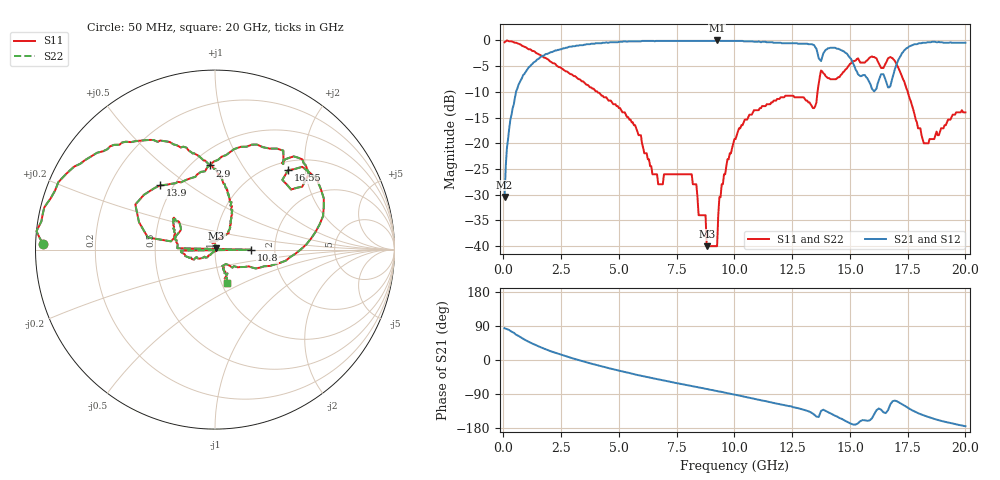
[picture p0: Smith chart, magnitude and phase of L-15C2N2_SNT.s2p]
#	mhz	s	ma	r	50
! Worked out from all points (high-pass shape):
!   400 points, 50 MHz to 20 GHz, reference 50 ohm
!   highest |S21| = 0.00 dB at 9.25 GHz (marker M1); lowest = -30.5 dB at 50 MHz (marker M2)
!   |S21| within 3 dB of the highest: 1.69 GHz to 13.63 GHz (11.94 GHz wide, 156 % of centre); 17.2 GHz to end of sweep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
!   lowest |S11| = -40.0 dB at 8.8 GHz (marker M3), VSWR 1.02, Z = 50.7 + j0.7 ohm
!   |S11| at or under -10 dB: 4.069 GHz to 13.6 GHz (9.529 GHz wide, 108 % of centre); 17.51 GHz to end of sweep
!   |S22| runs from -40.0 to 0.0 dB; largest |S21 - S12| = 0
!   S11 on the Smith chart (normalised r, x): 50 MHz: 0.02, +0.02; 2.9 GHz: 0.61, +0.74; 10.8 GHz: 1.50, -0.00; 13.9 GHz: 0.43, +0.39; 16.55 GHz: 1.17, +1.61; 20 GHz: 1.06, -0.42
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50  0.96 178.0  0.03 83.8  0.03 83.8  0.96 178.0
250  0.98 170.8  0.14 79.0  0.14 79.0  0.98 170.8
650  0.93 153.0  0.37 63.6  0.37 63.6  0.93 153.0
2900  0.47 93.4  0.87 6.1  0.87 6.1  0.47 93.4
3400  0.4 85.3  0.9 -2.8  0.9 -2.8  0.4 85.3
6700  0.04 99.2  0.99 -51.0  0.99 -51.0  0.04 99.2
8150  0.05 99.1  0.99 -68.7  0.99 -68.7  0.05 99.1
8800  0.01 43.6  0.99 -76.5  0.99 -76.5  0.01 43.6
9250  0.01 -119.1  1 -82.3  1 -82.3  0.01 -119.1
9350  0.03 -132.5  1 -83.1  1 -83.1  0.03 -132.5
10050  0.11 -158.4  0.99 -91.9  0.99 -91.9  0.11 -158.4
10750  0.19 -178.3  0.98 -101.0  0.98 -101.0  0.19 -178.3
10800  0.2 -0.2  0.98 -101.7  0.98 -101.7  0.2 -0.2
10850  0.21 177.9  0.97 -102.3  0.97 -102.3  0.21 177.9
13350  0.23 146.4  0.92 -139.6  0.92 -139.6  0.23 146.4
13900  0.47 130.4  0.78 -132.6  0.78 -132.6  0.47 130.4
15150  0.63 68.3  0.59 -170.4  0.59 -170.4  0.63 68.3
16550  0.6 47.4  0.41 -140.2  0.41 -140.2  0.6 47.4
16700  0.68 39.2  0.35 -124.7  0.35 -124.7  0.68 39.2
17350  0.4 -8.8  0.8 -120.2  0.8 -120.2  0.4 -8.8
18200  0.1 -53.0  0.95 -146.1  0.95 -146.1  0.1 -53.0
20000  0.2 -70.3  0.95 -174.7  0.95 -174.7  0.2 -70.3
